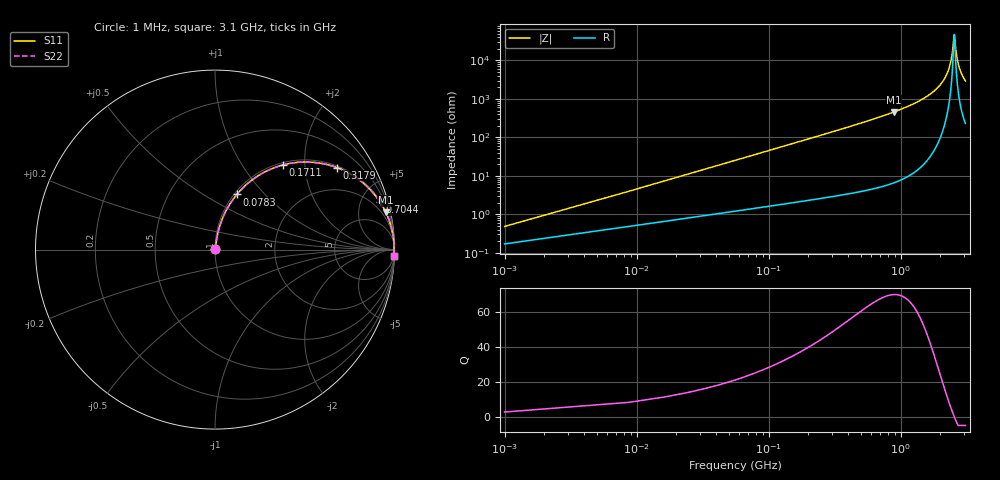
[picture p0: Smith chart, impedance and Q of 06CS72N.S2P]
! Coilcraft 0603CS-72N Chip Inductor
! 21 May 2002
# MHZ S MA R 50
!Freq  MagS11  AngS11  MagS21  AngS21  MagS12  AngS12  MagS22  AngS22
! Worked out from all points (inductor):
!   402 points, 1 MHz to 3.1 GHz, reference 50 ohm
!   read as one part in series: L = 72 nH near 16.46 MHz
!   highest Q = 69.7 at 890 MHz (marker M1), where L = 82 nH
!   self-resonance near 2.552 GHz
!   S11 on the Smith chart (normalised r, x): 1 MHz: 1.00, +0.01; 78.3 MHz: 1.03, +0.71; 171.1 MHz: 1.04, +1.55; 317.9 MHz: 1.06, +2.92; 704.4 MHz: 1.10, +6.90; 3.1 GHz: 6, -59
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1  0.004825 69.1  0.9983 -0.3  0.9983 -0.3  0.004825 69.1
24.19  0.1082 79.6  0.9863 -6.2  0.9863 -6.2  0.1082 79.6
31.92  0.142 78.2  0.9809 -8.1  0.9809 -8.1  0.142 78.2
55.11  0.2396 73.4  0.9594 -13.8  0.9594 -13.8  0.2396 73.4
78.3  0.3302 68.4  0.9307 -19.3  0.9307 -19.3  0.3302 68.4
171.06  0.6059 51.2  0.7792 -37.3  0.7792 -37.3  0.6059 51.2
317.93  0.8176 34.0  0.5595 -54.8  0.5595 -54.8  0.8176 34.0
518.91  0.9205 22.1  0.3759 -67.0  0.3759 -67.0  0.9205 22.1
704.43  0.9567 16.1  0.2773 -73.1  0.2773 -73.1  0.9567 16.1
889.95  0.9741 12.3  0.2125 -76.9  0.2125 -76.9  0.9741 12.3
1036.82  0.9821 10.1  0.1748 -79.1  0.1748 -79.1  0.9821 10.1
1554.73  0.9942 5.1  0.08892 -83.7  0.08892 -83.7  0.9942 5.1
2072.64  0.9975 2.1  0.03629 -85.1  0.03629 -85.1  0.9975 2.1
2250.43  0.9979 1.3  0.02192 -83.8  0.02192 -83.8  0.9979 1.3
2381.84  0.998 0.7  0.01215 -80.0  0.01215 -80.0  0.998 0.7
2466.87  0.9979 0.3  0.006255 -70.7  0.006255 -70.7  0.9979 0.3
2544.17  0.9979 0.0  0.002174 -15.5  0.002174 -15.5  0.9979 0.0
2567.36  0.9979 -0.1  0.002332 24.9  0.002332 24.9  0.9979 -0.1
2590.55  0.9979 -0.1  0.003315 49.8  0.003315 49.8  0.9979 -0.1
2660.12  0.9978 -0.4  0.007448 72.5  0.007448 72.5  0.9978 -0.4
2760.61  0.9976 -0.8  0.01372 79.6  0.01372 79.6  0.9976 -0.8
3100  0.9968 -1.9  0.03383 83.6  0.03383 83.6  0.9968 -1.9
